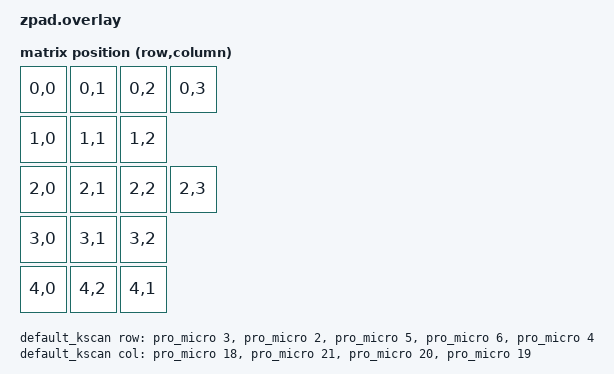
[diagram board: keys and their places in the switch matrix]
#include <dt-bindings/zmk/matrix_transform.h>

/ {
    chosen {
        zmk,kscan = &default_kscan;
        zmk,matrix-transform = &default_transform;
    };

    default_kscan: kscan {
        compatible = "zmk,kscan-gpio-matrix";
        label = "default_kscan";
        diode-direction = "col2row"; // Verify: anode to column, cathode to row

        col-gpios = <&pro_micro 18 GPIO_ACTIVE_HIGH>,  // C3, P1.15 (D18, printed 115)
                    <&pro_micro 21 GPIO_ACTIVE_HIGH>,  // C2, P0.31 (D21, printed 031)
                    <&pro_micro 20 GPIO_ACTIVE_HIGH>,  // C1, P0.29 (D20, printed 029)
                    <&pro_micro 19 GPIO_ACTIVE_HIGH>;  // C0, P0.02 (D19, printed 002)

        row-gpios = <&pro_micro 3 (GPIO_ACTIVE_HIGH | GPIO_PULL_DOWN)>,   // R0, P0.06 (D1, printed 006)
                    <&pro_micro 2 (GPIO_ACTIVE_HIGH | GPIO_PULL_DOWN)>,   // R1, P0.08 (D0, printed 008)
                    <&pro_micro 5 (GPIO_ACTIVE_HIGH | GPIO_PULL_DOWN)>,   // R2, P0.17 (D2, printed 017)
                    <&pro_micro 6 (GPIO_ACTIVE_HIGH | GPIO_PULL_DOWN)>,   // R3, P0.22 (D4, printed 022)
                    <&pro_micro 4 (GPIO_ACTIVE_HIGH | GPIO_PULL_DOWN)>;   // R4, P0.20 (D3, printed 020)
    };

    default_transform: matrix_transform {
        compatible = "zmk,matrix-transform";
        rows = <5>;
        columns = <4>;

        map = <
            RC(0,0) RC(0,1) RC(0,2) RC(0,3)
            RC(1,0) RC(1,1) RC(1,2)
            RC(2,0) RC(2,1) RC(2,2) RC(2,3)
            RC(3,0) RC(3,1) RC(3,2)
            RC(4,0) RC(4,2) RC(4,1)
        >;
    };
};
